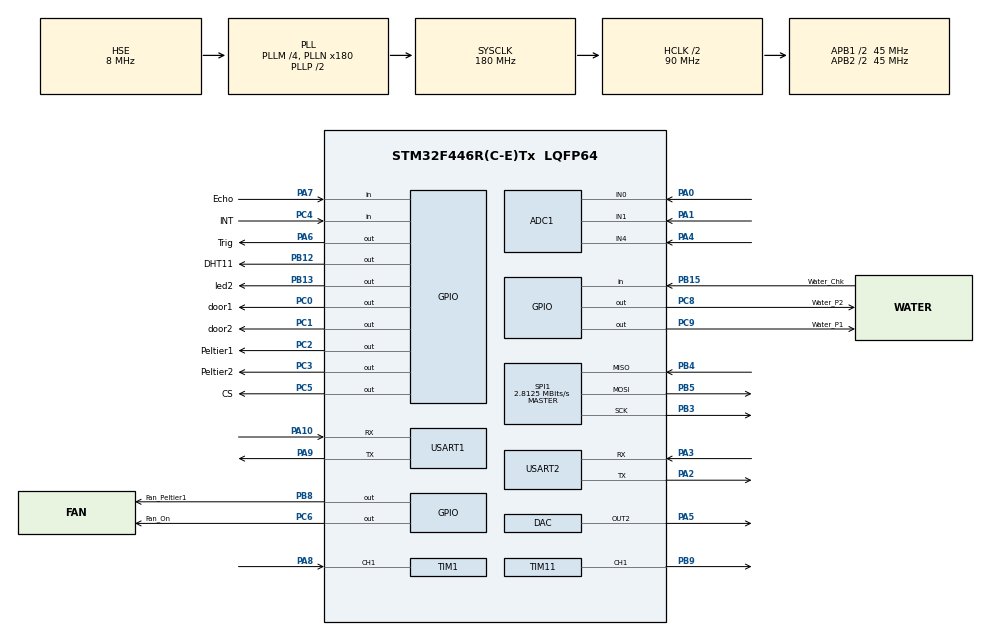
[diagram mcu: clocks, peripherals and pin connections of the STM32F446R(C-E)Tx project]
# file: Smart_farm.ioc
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ADC1.Channel-10\#ChannelRegularConversion=ADC_CHANNEL_0
ADC1.ContinuousConvMode=DISABLE
ADC1.NbrOfConversion=1
ADC1.NbrOfConversionFlag=1
ADC1.Rank-10\#ChannelRegularConversion=1
ADC1.SamplingTime-10\#ChannelRegularConversion=ADC_SAMPLETIME_3CYCLES
ADC1.master=1
Mcu.Family=STM32F4
Mcu.Name=STM32F446R(C-E)Tx
Mcu.Package=LQFP64
NVIC.PriorityGroup=NVIC_PRIORITYGROUP_4
NVIC.TIM1_CC_IRQn=true\:0\:0\:false\:false\:true\:true\:true\:true
NVIC.TIM2_IRQn=true\:0\:0\:false\:true\:true\:1\:true\:true\:true
NVIC.TIM3_IRQn=true\:0\:0\:false\:false\:true\:true\:true\:true
NVIC.TIM4_IRQn=true\:0\:0\:false\:false\:true\:true\:true\:true
NVIC.TIM5_IRQn=true\:0\:0\:false\:false\:true\:true\:true\:true
NVIC.TIM8_TRG_COM_TIM14_IRQn=true\:15\:0\:false\:false\:true\:false\:true\:true
NVIC.TimeBase=TIM8_TRG_COM_TIM14_IRQn
NVIC.TimeBaseIP=TIM14
NVIC.USART1_IRQn=true\:0\:0\:false\:false\:true\:true\:true\:true
PA0-WKUP.Signal=ADCx_IN0
PA1.Signal=ADCx_IN1
PA10.Mode=Asynchronous
PA10.Signal=USART1_RX
PA13.Mode=Serial_Wire
PA13.Signal=SYS_JTMS-SWDIO
PA14.Mode=Serial_Wire
PA14.Signal=SYS_JTCK-SWCLK
PA2.Mode=Asynchronous
PA2.Signal=USART2_TX
PA3.Mode=Asynchronous
PA3.Signal=USART2_RX
PA4.Signal=ADCx_IN4
PA5.Signal=COMP_DAC2_group
PA6.GPIO_Label=Trig
PA6.GPIO_Speed=GPIO_SPEED_FREQ_VERY_HIGH
PA6.Signal=GPIO_Output
PA7.GPIO_Label=Echo
PA7.GPIO_PuPd=GPIO_PULLDOWN
PA7.Signal=GPIO_Input
PA8.GPIO_Speed=GPIO_SPEED_FREQ_HIGH
PA8.Signal=S_TIM1_CH1
PA9.Mode=Asynchronous
PA9.Signal=USART1_TX
PB12.GPIO_Label=DHT11
PB12.GPIO_Speed=GPIO_SPEED_FREQ_VERY_HIGH
PB12.Signal=GPIO_Output
PB13.GPIO_Label=led2
PB13.GPIO_ModeDefaultOutputPP=GPIO_MODE_OUTPUT_PP
PB13.GPIO_PuPd=GPIO_NOPULL
PB13.GPIO_Speed=GPIO_SPEED_FREQ_MEDIUM
PB13.PinState=GPIO_PIN_RESET
PB13.Signal=GPIO_Output
PB15.GPIO_Label=Water_Chk
PB15.Signal=GPIO_Input
PB3.Mode=Full_Duplex_Master
PB3.Signal=SPI1_SCK
PB4.Mode=Full_Duplex_Master
PB4.Signal=SPI1_MISO
PB5.Mode=Full_Duplex_Master
PB5.Signal=SPI1_MOSI
PB8.GPIO_Label=Fan_Peltier1
PB8.Signal=GPIO_Output
PB9.Signal=S_TIM11_CH1
PC0.GPIO_Label=door1
PC0.GPIO_ModeDefaultOutputPP=GPIO_MODE_OUTPUT_PP
PC0.GPIO_PuPd=GPIO_NOPULL
PC0.GPIO_Speed=GPIO_SPEED_FREQ_MEDIUM
PC0.PinState=GPIO_PIN_RESET
PC0.Signal=GPIO_Output
PC1.GPIO_Label=door2
PC1.GPIO_ModeDefaultOutputPP=GPIO_MODE_OUTPUT_PP
PC1.GPIO_PuPd=GPIO_NOPULL
PC1.GPIO_Speed=GPIO_SPEED_FREQ_MEDIUM
PC1.PinState=GPIO_PIN_RESET
PC1.Signal=GPIO_Output
PC14-OSC32_IN.Mode=LSE-External-Oscillator
PC14-OSC32_IN.Signal=RCC_OSC32_IN
PC15-OSC32_OUT.Mode=LSE-External-Oscillator
PC15-OSC32_OUT.Signal=RCC_OSC32_OUT
PC2.GPIO_Label=Peltier1
PC2.Signal=GPIO_Output
PC3.GPIO_Label=Peltier2
PC3.Signal=GPIO_Output
PC4.GPIO_Label=INT
PC4.Signal=GPIO_Input
PC5.GPIO_Label=CS
PC5.Signal=GPIO_Output
PC6.GPIO_Label=Fan_On
PC6.Signal=GPIO_Output
PC8.GPIO_Label=Water_P2
PC8.GPIO_Speed=GPIO_SPEED_FREQ_HIGH
PC8.Signal=GPIO_Output
PC9.GPIO_Label=Water_P1
PC9.GPIO_Speed=GPIO_SPEED_FREQ_HIGH
PC9.Signal=GPIO_Output
PH0-OSC_IN.Mode=HSE-External-Oscillator
PH0-OSC_IN.Signal=RCC_OSC_IN
PH1-OSC_OUT.Mode=HSE-External-Oscillator
PH1-OSC_OUT.Signal=RCC_OSC_OUT
ProjectManager.HeapSize=0x200
ProjectManager.StackSize=0x400
ProjectManager.TargetToolchain=STM32CubeIDE
RCC.AHBCLKDivider=RCC_SYSCLK_DIV2
RCC.AHBFreq_Value=90000000
RCC.APB1CLKDivider=RCC_HCLK_DIV2
RCC.APB1Freq_Value=45000000
RCC.APB1TimFreq_Value=90000000
RCC.APB2CLKDivider=RCC_HCLK_DIV2
RCC.APB2Freq_Value=45000000
RCC.APB2TimFreq_Value=90000000
RCC.CortexFreq_Value=90000000
RCC.HCLKFreq_Value=90000000
RCC.HSE_VALUE=8000000
RCC.PLLM=4
RCC.PLLN=180
RCC.PLLSourceVirtual=RCC_PLLSOURCE_HSE
RCC.SYSCLKFreq_VALUE=180000000
RCC.SYSCLKSource=RCC_SYSCLKSOURCE_PLLCLK
RCC.USBFreq_Value=180000000
RCC.VCOOutputFreq_Value=360000000
SH.ADCx_IN0.0=ADC1_IN0,IN0
SH.ADCx_IN1.0=ADC1_IN1,IN1
SH.ADCx_IN4.0=ADC1_IN4,IN4
SH.COMP_DAC2_group.0=DAC_OUT2,DAC_OUT2
SH.S_TIM11_CH1.0=TIM11_CH1,PWM Generation1 CH1
SH.S_TIM1_CH1.0=TIM1_CH1,Input_Capture1_from_TI1
SPI1.BaudRatePrescaler=SPI_BAUDRATEPRESCALER_16
SPI1.CalculateBaudRate=2.8125 MBits/s
SPI1.Direction=SPI_DIRECTION_2LINES
SPI1.Mode=SPI_MODE_MASTER
SPI1.VirtualType=VM_MASTER
TIM1.Channel-Input_Capture1_from_TI1=TIM_CHANNEL_1
TIM1.Period=0xffff-1
TIM1.Prescaler=90-1
TIM11.Channel=TIM_CHANNEL_1
TIM11.Period=4096-1
TIM11.Prescaler=9-1
TIM2.AutoReloadPreload=TIM_AUTORELOAD_PRELOAD_ENABLE
TIM2.Period=1000-1
TIM2.Prescaler=9000-1
TIM3.Period=60000-1
TIM3.Prescaler=45000-1
TIM4.Period=1000-1
TIM4.Prescaler=9000-1
TIM5.Period=1000-1
TIM5.Prescaler=9000-1
TIM6.Period=65535-1
TIM6.Prescaler=90-1
TIM7.Period=65535-1
TIM7.Prescaler=90-1
USART1.VirtualMode=VM_ASYNC
USART2.VirtualMode=VM_ASYNC
VP_SYS_VS_tim14.Mode=TIM14
VP_TIM11_VS_ClockSourceINT.Mode=Enable_Timer
VP_TIM1_VS_ClockSourceINT.Mode=Internal
VP_TIM2_VS_ClockSourceINT.Mode=Internal
VP_TIM3_VS_ClockSourceINT.Mode=Internal
VP_TIM4_VS_ClockSourceINT.Mode=Internal
VP_TIM5_VS_ClockSourceINT.Mode=Internal
VP_TIM6_VS_ClockSourceINT.Mode=Enable_Timer
VP_TIM7_VS_ClockSourceINT.Mode=Enable_Timer
board=custom

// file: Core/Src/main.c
/* USER CODE BEGIN Header */
/**
  ******************************************************************************
  * @file           : main.c
  * @brief          : Main program body
  ******************************************************************************
  * @attention
  *
  * Copyright (c) 2025 STMicroelectronics.
  * All rights reserved.
  *
  * This software is licensed under terms that can be found in the LICENSE file
  * in the root directory of this software component.
  * If no LICENSE file comes with this software, it is provided AS-IS.
  *
  ******************************************************************************
  */
/* USER CODE END Header */
#include "main.h"
#include "adc.h"
#include "dac.h"
#include "spi.h"
#include "tim.h"
#include "usart.h"
#include "gpio.h"

/* USER CODE BEGIN Includes */
#include <stdio.h>
#include <stdlib.h>
#include <string.h>

#include "MCP2515.h"
#include "CANSPI.h"

//
#define printf_en 1
#define USART_Ch_1_EN	3
#define Console_Ch2   2
#define dht11_en 3
#define Ch1	1
#define cds_en	2
#define co2_en	3
#define w_height_en	4
#define servo_en 5
#define water_pump_en 	6
#define fan_en 6
#define light_en 6
#define pelt_en 6
#include "my_library.h"

/* USER CODE END Includes */

/* USER CODE BEGIN PTD */

//변수 선언

//float temp=0.0;
//float humi=0.0;
//int16_t temp_x10=0;
//int16_t humi_x10=0;
//char message[16];
//uCAN_MSG rxMessage;

char Test_Msg[16];
char pass_sig[] = "Pass\r\n";
char msg_to_Rpi[30];
//char Cmd_Msg[80];
extern int Cmd_values[5];
uint8_t door_flag;
uint8_t door_flg;
//구조체
struct flags{
	uint8_t water_sensor_flag;
	uint8_t timer1;
	uint8_t timer2;
}FLAGS = {0,0,0};
struct flags *flag = &FLAGS;

struct Sensor_Value{
	  float TEMP;		// 온도
	  float RH;			// 습도
	  float lux ;				// 밝기
	  float co2 ;				// c02 ppm
	  float w_1;		// 둘 중 하나
}sen_val = {0.0, 0.0, 0.0, 0.0, 0.0};
struct Sensor_Value *sen_v = &sen_val;

bool detected;
uint8_t Sensor_flag = 0;
uint8_t dis_sensor_flag = 0;
uint8_t water_sensor_flag= 0;
uint8_t door_flag = 0;
uint16_t cnt = 0;
uint8_t timer1 = 0;
uint8_t timer2 = 0;

typedef enum {
    UART_STATE_WAIT_TEST = 0,  // 테스트 모드 대기
    UART_STATE_WAIT_CMD        // 명령 수신 대기
} UART_STATE_t;

volatile UART_STATE_t uart_state = UART_STATE_WAIT_TEST;
volatile uint8_t test_ready = 0;
volatile uint8_t cmd_ready = 0;

char Test_Msg[16] = {0};
extern char Cmd_Msg[16] = {0};

//extern ADC_HandleTypeDef hadc1;

void HAL_TIM_MspPostInit(TIM_HandleTypeDef *htim);

/* USER CODE END PTD */

void SystemClock_Config(void);
static void MX_NVIC_Init(void);

int main(void)
{

  /* MCU Configuration--------------------------------------------------------*/

  /* Reset of all peripherals, Initializes the Flash interface and the Systick. */
  HAL_Init();

  /* Configure the system clock */
  SystemClock_Config();

  /* Initialize all configured peripherals */
  MX_GPIO_Init();
  MX_TIM6_Init();
  MX_USART1_UART_Init();
  MX_USART2_UART_Init();
  MX_ADC1_Init();
  MX_TIM1_Init();
  MX_TIM2_Init();
  MX_TIM3_Init();
  MX_TIM4_Init();
  MX_TIM5_Init();
  MX_DAC_Init();
  MX_TIM11_Init();
  MX_SPI1_Init();
  MX_TIM7_Init();

  /* Initialize interrupts */
  MX_NVIC_Init();
  /* USER CODE BEGIN 2 */
  HAL_TIM_Base_Start(&htim6);

  HAL_ADC_Start(&hadc1);
  HAL_ADC_PollForConversion(&hadc1, HAL_MAX_DELAY);

  HAL_TIM_Base_Start_IT(&htim2);
  HAL_TIM_Base_Start_IT(&htim3);
  HAL_TIM_Base_Start_IT(&htim4);
  HAL_TIM_Base_Start_IT(&htim5);
  //HAL_TIM_Base_Start_IT(&htim1);
  HAL_TIM_PWM_Start(&htim11, TIM_CHANNEL_1);

  //
  HAL_UART_Receive_IT(&huart1, (uint8_t*)Test_Msg, 16);
  uart_state = UART_STATE_WAIT_TEST;

  fan_off();
  Water_P1_Stop();
  Water_P2_Stop();
  //can_mcp2515_init();
  //CANSPI_Initialize();

  /* USER CODE END 2 */

  /* Infinite loop */
  /* USER CODE BEGIN WHILE */
  while (1)
  {

	  if (uart_state == UART_STATE_WAIT_TEST && test_ready)
	      {
	          test_ready = 0;  // 사용 후 초기화
	          Test_Msg[15] = '\0';  // 문자열 종료
	          printf("Received Test Msg: %s\r\n", Test_Msg);

	          if (strcmp(Test_Msg, "STM32 Test Mode") == 0)
	          {
	              printf("Test message matched. Switching to CMD mode.\r\n");

	              uart_state = UART_STATE_WAIT_CMD;

	              if (DHT11_Sensor_Test() && check_light())
	              {
	                  Sensor_flag = 1;
	                  printf("Sensor Check Complete\r\n");
	                  HAL_UART_Transmit(&huart1, (uint8_t*)pass_sig, strlen(pass_sig), 10);
	              }

	              // 명령 수신 준비 시작
	             // HAL_UART_Receive_IT(&huart1, (uint8_t*)Cmd_Msg, 10);
	          }
	          else
	          {
	              // 테스트 메시지 다시 수신 준비
	              HAL_UART_Receive_IT(&huart1, (uint8_t*)Test_Msg, 16);
	          }
	      }

	      else if (uart_state == UART_STATE_WAIT_CMD)
	      {
	          // 센서 데이터 측정
	          float TEMP = DHT11_Run_TEMP();
	          float RH = DHT11_Run_RH();
	          float lux = read_light_lux();
	          float co2 = read_co2();
	          float w_1 = isWaterDetected1();
	          //초음파 제외
	          //HCSR04_Read();

			  //uint32_t distance = Distance;
			  //bool detected = (distance < 6);
			  //door_flag = update_door_state(door_flag, detected);
			  //handle_door_action(door_flag);

	          //printf("TEMP: %.1f RH: %.1f CO2: %.1f LUX: %.1f WATER: %.1f\r\n", TEMP, RH, co2, lux, w_1);
	          if(door_flg == 1){
	        	  door_open();
	        	  door_flg = 0;
	        	  door_stop();
	          }
	          else if(door_flg ==2){
	        	  door_close();
	        	  door_flg = 0;
	        	  door_stop();
	          }
	          else{
	        	  door_stop();
	          }
	          cnt++;
	          if (cnt == 20)  // 약 20초마다 RPi로 전송
	          {
	              cnt = 0;
	              sprintf(msg_to_Rpi, "%.1f,%.1f,%.1f,%.1f,%.1f\r\n", TEMP, RH, co2, lux, w_1);
	              printf("Sending sensor data: %s", msg_to_Rpi);
	              HAL_UART_Transmit(&huart1, (uint8_t*)msg_to_Rpi, strlen(msg_to_Rpi), 100);
	          }
	          HAL_UART_Receive_IT(&huart1, (uint8_t*)Cmd_Msg, 10);
	          HAL_Delay(1000);  // 1초 대기
	      }

	      HAL_Delay(10);

  }

    /* USER CODE END WHILE */

}

void SystemClock_Config(void)
{
  RCC_OscInitTypeDef RCC_OscInitStruct = {0};
  RCC_ClkInitTypeDef RCC_ClkInitStruct = {0};

  /** Configure the main internal regulator output voltage
  */
  __HAL_RCC_PWR_CLK_ENABLE();
  __HAL_PWR_VOLTAGESCALING_CONFIG(PWR_REGULATOR_VOLTAGE_SCALE3);

  /** Initializes the RCC Oscillators according to the specified parameters
  * in the RCC_OscInitTypeDef structure.
  */
  RCC_OscInitStruct.OscillatorType = RCC_OSCILLATORTYPE_HSE;
  RCC_OscInitStruct.HSEState = RCC_HSE_ON;
  RCC_OscInitStruct.PLL.PLLState = RCC_PLL_ON;
  RCC_OscInitStruct.PLL.PLLSource = RCC_PLLSOURCE_HSE;
  RCC_OscInitStruct.PLL.PLLM = 4;
  RCC_OscInitStruct.PLL.PLLN = 180;
  RCC_OscInitStruct.PLL.PLLP = RCC_PLLP_DIV2;
  RCC_OscInitStruct.PLL.PLLQ = 2;
  RCC_OscInitStruct.PLL.PLLR = 2;
  if (HAL_RCC_OscConfig(&RCC_OscInitStruct) != HAL_OK)
  {
    Error_Handler();
  }

  /** Initializes the CPU, AHB and APB buses clocks
  */
  RCC_ClkInitStruct.ClockType = RCC_CLOCKTYPE_HCLK|RCC_CLOCKTYPE_SYSCLK
                              |RCC_CLOCKTYPE_PCLK1|RCC_CLOCKTYPE_PCLK2;
  RCC_ClkInitStruct.SYSCLKSource = RCC_SYSCLKSOURCE_PLLCLK;
  RCC_ClkInitStruct.AHBCLKDivider = RCC_SYSCLK_DIV2;
  RCC_ClkInitStruct.APB1CLKDivider = RCC_HCLK_DIV2;
  RCC_ClkInitStruct.APB2CLKDivider = RCC_HCLK_DIV2;

  if (HAL_RCC_ClockConfig(&RCC_ClkInitStruct, FLASH_LATENCY_2) != HAL_OK)
  {
    Error_Handler();
  }
}

/**
  * @brief NVIC Configuration.
  * @retval None
  */
static void MX_NVIC_Init(void)
{
  /* TIM2_IRQn interrupt configuration */
  HAL_NVIC_SetPriority(TIM2_IRQn, 0, 0);
  HAL_NVIC_EnableIRQ(TIM2_IRQn);
}

/* USER CODE BEGIN 4 */
void HAL_UART_RxCpltCallback(UART_HandleTypeDef *huart)
{

    if (huart->Instance == USART1)
    {
        if (uart_state == UART_STATE_WAIT_TEST)
        {
            test_ready = 1;
        }
        else if (uart_state == UART_STATE_WAIT_CMD)
        {
            Cmd_Msg[10] = '\0';
            printf("Cmd_Msg = %s\r\n", Cmd_Msg);

            parse_fixed_csv(Cmd_Msg);

            if (Cmd_values[0] == 1)
            {
            	printf("\n\n======Actuactor start by Sensor Value======\r\n");
                for (int i = 0; i < 5; i++)
                    printf("Sensor Cmd_values[%d] = %d\r\n", i, Cmd_values[i]);
                process_commands(Cmd_values);
                printf("=====================================================\r\n\n\n");
            }
            else
            {
            	printf("\n\n======Actuactor start by Manual Control======\r\n");
                for (int i = 0; i < 5; i++)
                    printf("\n\nManual Cmd_values[%d] = %d\r\n", i, Cmd_values[i]);
                manual_process(Cmd_values);
                printf("=====================================================\r\n\n\n");
            }

            // 다음 수신 준비
        }
        HAL_UART_Receive_IT(&huart1, (uint8_t*)Cmd_Msg, 10);
    }
}

/* USER CODE END 4 */

void HAL_TIM_PeriodElapsedCallback(TIM_HandleTypeDef *htim)
{
  /* USER CODE BEGIN Callback 0 */

	if (htim->Instance == TIM2)
	{	//	수위 실시간 인터럽트로 측정
		if(Sensor_flag == 1)
		{

			float light = read_light();				// 빛세기 adc로 읽기
			light_on((uint16_t)light);				// lux 구하기
			float w_2 = isWaterDetected1();			// 수위센서
			if(w_2 == 0.0){							// 수위 센서 측정 x
				Water_P1_Start(); //급수

			}else{									// 수위 센서 측정 o
				Water_P1_Stop();
			}

		}
	}
	if (htim->Instance == TIM3)
	{	// 30s초마다 인터럽트 발생하는 코드 => 1시간 경과를 측정하는 인터럽트
		if(Sensor_flag == 1)
		{
			(flag->timer1)+=1;									// 30초 마다 카운트

				//시간 경과 측정
			//printf("%.1f min left tp start\r\n", ((10 -flag->timer1)/2.0));

			if(flag->timer1 == 10){							//5분 마다 배수

				flag->water_sensor_flag = 1;					// 배수flag = 1
				printf("Water Drainage Start\r\n");
			}
			else if(flag -> timer1 == 16){						// 배수 flag  3분간 1로 고정

				flag->timer1 = 0;								// 배수 후 0으로 초기화
				flag->water_sensor_flag = 0;
				printf("Water Drainage Stop\r\n");
			}
			if(flag->timer1 > 10){
				printf("%.1f min left to stop\r\n", (16 - flag->timer1)/2.0);
			}
			els{
				printf("%.1f min left tp start\r\n", ((10 -flag->timer1)/2.0));
			}

		}
	}

	if (htim->Instance == TIM5)
	{	//
		// 0.1초마다 배수 플레그 확인
		if(Sensor_flag == 1){

			if(flag->water_sensor_flag == 1){
				//printf("Water drainage Start\r\n");
				Water_P2_Start();

			}else{
				//printf("Water drainage Stop\r\n");
				Water_P2_Stop();

			}
		}
	}

  /* USER CODE END Callback 0 */
  if (htim->Instance == TIM14)
  {
    HAL_IncTick();
  }
}

void Error_Handler(void)
{
  __disable_irq();
  while (1)
  {
  }
}
